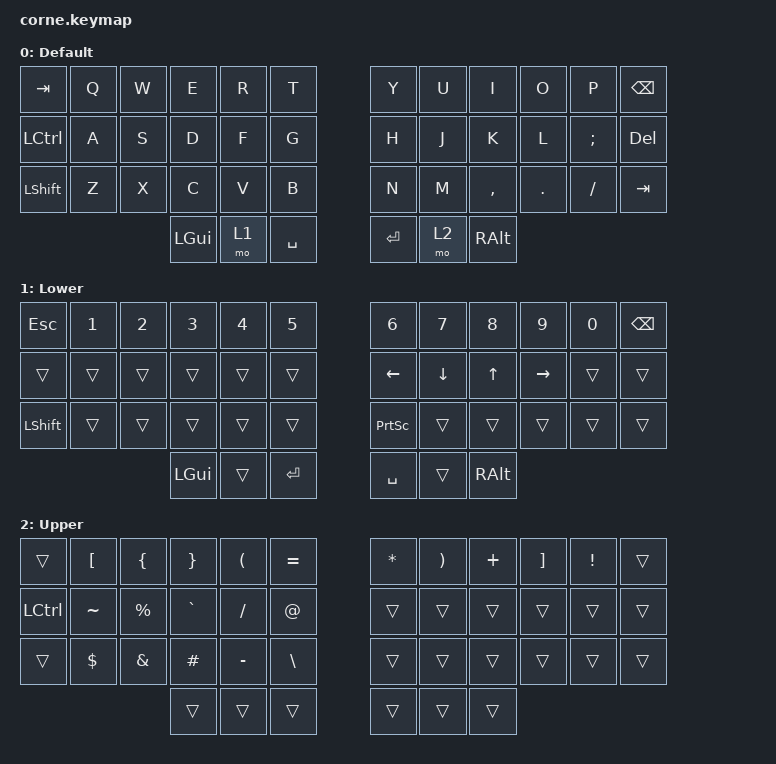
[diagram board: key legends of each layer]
/*
 * Copyright (c) 2020 The ZMK Contributors
 *
 * SPDX-License-Identifier: MIT
 */

#include <behaviors.dtsi>
#include <dt-bindings/zmk/keys.h>
#include <dt-bindings/zmk/bt.h>

/ {
        keymap {
                compatible = "zmk,keymap";

                default_layer {
                        display-name = "Default";
                        // -----------------------------------------------------------------------------------------
                        // | TAB:ESC |  Q  |  W  |  E  |  R  |  T  |   |  Y  |  U   |  I  |  O  |  P  | BSPC |
                        // |  CTRL   |  A  |  S  |  D  |  F  |  G  |   |  H  |  J   |  K  |  L  |  ;  | DEL  |
                        // |  SHFT   |  Z  |  X  |  C  |  V  |  B  |   |  N  |  M   |  ,  |  .  |  /  | TAB  |
                        //                       | GUI | LWR | SPC |   | ENT | RSE  | ALT |
                                                bindings = <
                        &kp TAB   &kp Q &kp W &kp E &kp R &kp T   &kp Y &kp U  &kp I     &kp O   &kp P    &kp BSPC
                        &kp LCTRL &kp A &kp S &kp D &kp F &kp G   &kp H &kp J  &kp K     &kp L   &kp SEMI &kp DEL
                        &kp LSHFT &kp Z &kp X &kp C &kp V &kp B   &kp N &kp M  &kp COMMA &kp DOT &kp FSLH &kp TAB
                                        &kp LGUI &mo 1 &kp SPACE   &kp RET &mo 2 &kp RALT
                                                >;
                };
                lower_layer {
                        display-name = "Lower";
                                // -----------------------------------------------------------------------------------------
                                // |  TAB |  1  |  2  |  3  |  4  |  5  |   |  6  |  7  |  8  |  9  |  0  | BKSP |
                                // | BTCLR|     |     |     |     |     |   | LFT | DWN |  UP | RGT |     |      |
                                // | SHFT |     |     |     |     |     |   |     |     |     |     |     |      |
                                //                    | GUI |     | SPC |   | ENT |     | ALT |
                        bindings = <
                                &kp ESC    &kp N1       &kp N2       &kp N3       &kp N4       &kp N5         &kp N6   &kp N7   &kp N8 &kp N9    &kp N0 &kp BSPC
                                &trans     &trans       &trans       &trans       &trans       &trans         &kp LEFT &kp DOWN &kp UP &kp RIGHT &trans &trans
                                &kp LSHFT  &trans       &trans       &trans       &trans       &trans         &kp PSCRN   &trans   &trans &trans    &trans &trans
                                                                &kp LGUI     &trans       &kp RET      &kp SPACE  &trans   &kp RALT
                        >;
                };

                raise_layer {
                        display-name = "Upper";
                                // -----------------------------------------------------------------------------------------
                                // |  ESC |  [  |  {  |  }  |  (  |  =  |       |  *  |  )  |  +  |  ]  |  !  | DEL  |
                                // | CTRL |  ~  |  %  |  `  | / ? | @ ^ |       |     |     |     |     |     |      |
                                // | SHFT |  $  |  &  |  #  | - _ | \ | |       |     |     |     |     |     |      |
                                //                    | GUI |     | SPC |       | ENT |     | ALT |
                        bindings = <
                                &trans     &kp LBKT    &kp LBRC     &kp RBRC     &kp LPAR    &kp EQUAL       &kp STAR    &kp RPAR  &kp PLUS  &kp RBKT  &kp EXCL   &trans    
                                &kp LCTRL  &kp TILDE   &kp PRCNT    &kp GRAVE    &kp SLASH     &kp AT        &trans      &trans    &trans    &trans    &trans     &trans
                                &trans     &kp DLLR    &kp AMPS     &kp HASH     &kp MINUS    &kp BACKSLASH         &trans      &trans    &trans    &trans    &trans     &trans
                                                                &trans       &trans      &trans          &trans      &trans    &trans
                        >;
                };
        };
};
